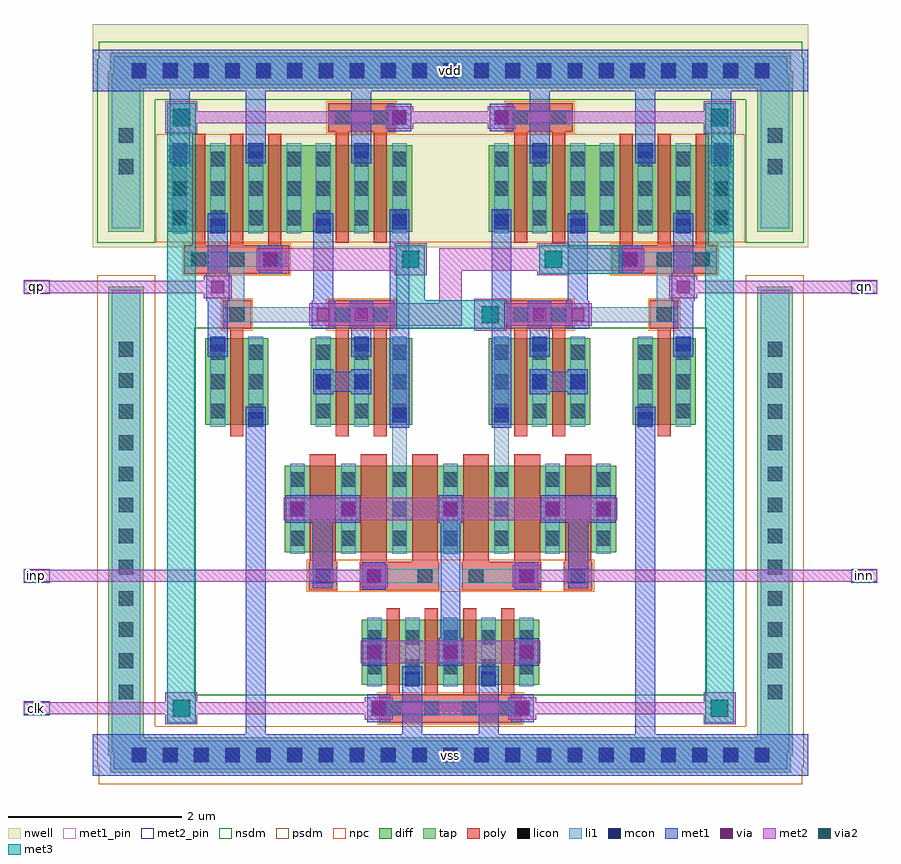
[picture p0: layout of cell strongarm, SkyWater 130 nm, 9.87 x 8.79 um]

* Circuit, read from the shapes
.subckt strongarm clk inn inp qn qp vdd vss
XM1 vss n1 qp vss sky130_fd_pr__nfet_01v8 w=1 l=0.15
XM2 n2 n2 n2 vss sky130_fd_pr__nfet_01v8 w=1 l=0.3 m=2
XM3 n3 n1 n3 vss sky130_fd_pr__nfet_01v8 w=1 l=0.15
XM4 n4 inp n2 vss sky130_fd_pr__nfet_01v8 w=1 l=0.3 m=2
XM5 n4 n1 n3 vss sky130_fd_pr__nfet_01v8 w=1 l=0.15
XM6 vss clk n2 vss sky130_fd_pr__nfet_01v8 w=0.75 l=0.15 m=4
XM7 n5 inn n2 vss sky130_fd_pr__nfet_01v8 w=1 l=0.3 m=2
XM8 n1 n3 n5 vss sky130_fd_pr__nfet_01v8 w=1 l=0.15
XM9 n1 n3 n1 vss sky130_fd_pr__nfet_01v8 w=1 l=0.15
XM10 qn n3 vss vss sky130_fd_pr__nfet_01v8 w=1 l=0.15
XM11 qp n1 vdd vdd sky130_fd_pr__pfet_01v8 w=1 l=0.15 m=2
XM12 n3 n1 vdd vdd sky130_fd_pr__pfet_01v8 w=1 l=0.15
XM13 vdd clk n3 vdd sky130_fd_pr__pfet_01v8 w=1 l=0.15
XM14 n4 clk vdd vdd sky130_fd_pr__pfet_01v8 w=1 l=0.15
XM15 vdd clk n5 vdd sky130_fd_pr__pfet_01v8 w=1 l=0.15
XM16 n1 clk vdd vdd sky130_fd_pr__pfet_01v8 w=1 l=0.15
XM17 vdd n3 n1 vdd sky130_fd_pr__pfet_01v8 w=1 l=0.15
XM18 qn n3 vdd vdd sky130_fd_pr__pfet_01v8 w=1 l=0.15 m=2
.ends

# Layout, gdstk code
import gdstk
lib = gdstk.Library(unit=1e-6, precision=1e-09)
def R(c, l, rs):  # rectangles x0, y0, x1, y1
    for r in rs: c.add(gdstk.rectangle(r[:2], r[2:], *l))
def A(c, l, x, y, w, h, nx, ny, dx, dy):  # array of equal rectangles
    R(c, l, [(x+i*dx, y+j*dy, x+i*dx+w, y+j*dy+h) for i in range(nx) for j in range(ny)])
nwell = (64, 20)
diff = (65, 20)
tap = (65, 44)
poly = (66, 20)
licon = (66, 44)
li1 = (67, 20)
mcon = (67, 44)
met1_pin = (68, 16)
met1 = (68, 20)
via = (68, 44)
met2_pin = (69, 16)
met2 = (69, 20)
via2 = (69, 44)
met3 = (70, 20)
nsdm = (93, 44)
psdm = (94, 20)
npc = (95, 20)

strongarm = lib.new_cell('strongarm')
R(strongarm, nwell, [(-4.135,6.11,4.135,8.69)])
A(strongarm, diff, -1.025, 1.055, 0.73, 0.75, 4, 1, 0.44, 0)
A(strongarm, diff, -1.915, 2.585, 0.88, 1, 6, 1, 0.59, 0)
A(strongarm, diff, -3.275, 6.29, 0.73, 1, 3, 1, 0.44, 0)
A(strongarm, diff, 1.665, 6.29, 0.73, 1, 3, 1, 0.44, 0)
R(strongarm, diff, [(-2.835,4.055,-2.105,5.055), (-1.615,4.055,-0.885,5.055), (-1.175,4.055,-0.445,5.055), (0.445,4.055,1.175,5.055), (0.885,4.055,1.615,5.055), (2.105,4.055,2.835,5.055), (-1.675,6.29,-1.605,7.29), (-1.615,6.29,-0.885,7.29), (-1.175,6.29,-0.445,7.29), (0.445,6.29,1.175,7.29), (0.885,6.29,1.615,7.29), (1.605,6.29,1.675,7.29)])
R(strongarm, tap, [(-3.935,0.035,3.935,0.445), (-3.955,0.24,-3.545,5.655), (3.545,0.24,3.955,5.655), (-3.955,6.29,-3.545,8.15), (3.545,6.29,3.955,8.15), (-3.935,7.945,3.935,8.355)])
A(strongarm, poly, -0.825, 0.615, 0.33, 0.33, 4, 1, 0.44, 0)
A(strongarm, poly, -0.505, 0.615, 0.13, 0.33, 3, 1, 0.44, 0)
A(strongarm, poly, -0.735, 0.945, 0.15, 0.99, 4, 1, 0.44, 0)
A(strongarm, poly, -1.64, 2.145, 0.33, 0.33, 6, 1, 0.59, 0)
A(strongarm, poly, -1.625, 2.475, 0.3, 1.24, 6, 1, 0.59, 0)
A(strongarm, poly, -3.075, 5.805, 0.33, 0.33, 3, 1, 0.44, 0)
A(strongarm, poly, 1.865, 5.805, 0.33, 0.33, 3, 1, 0.44, 0)
A(strongarm, poly, -2.985, 6.135, 0.15, 1.285, 3, 1, 0.44, 0)
A(strongarm, poly, 1.955, 6.135, 0.15, 1.285, 3, 1, 0.44, 0)
R(strongarm, poly, [(-0.73,2.145,-0.45,2.475), (0.45,2.145,0.73,2.475), (-2.545,3.925,-2.395,5.165), (-1.325,3.925,-1.175,5.165), (-0.885,3.925,-0.735,5.165), (0.735,3.925,0.885,5.165), (1.175,3.925,1.325,5.165), (2.395,3.925,2.545,5.165), (-2.635,5.165,-2.305,5.495), (-1.415,5.165,-1.085,5.495), (-1.095,5.165,-0.965,5.495), (-0.975,5.165,-0.645,5.495), (0.645,5.165,0.975,5.495), (0.965,5.165,1.095,5.495), (1.085,5.165,1.415,5.495), (2.305,5.165,2.635,5.495), (-2.755,5.805,-2.625,6.135), (-2.315,5.805,-2.185,6.135), (2.185,5.805,2.315,6.135), (2.625,5.805,2.755,6.135), (-1.325,6.16,-1.175,7.445), (-0.885,6.16,-0.735,7.445), (0.735,6.16,0.885,7.445), (1.175,6.16,1.325,7.445), (-1.415,7.445,-1.085,7.775), (-1.095,7.445,-0.965,7.775), (-0.975,7.445,-0.645,7.775), (0.645,7.445,0.975,7.775), (0.965,7.445,1.095,7.775), (1.085,7.445,1.415,7.775)])
A(strongarm, licon, -3.685, 0.155, 0.17, 0.17, 21, 2, 0.36, 7.91)
A(strongarm, licon, -0.745, 0.695, 0.17, 0.17, 4, 1, 0.44, 0)
A(strongarm, licon, -3.835, 0.885, 0.17, 0.17, 1, 12, 0, 0.36)
A(strongarm, licon, 3.665, 0.885, 0.17, 0.17, 1, 12, 0, 0.36)
A(strongarm, licon, -1.56, 2.225, 0.17, 0.17, 6, 1, 0.59, 0)
A(strongarm, licon, -1.855, 2.66, 0.17, 0.17, 1, 3, 0, 0.34)
A(strongarm, licon, 1.685, 2.66, 0.17, 0.17, 1, 3, 0, 0.34)
A(strongarm, licon, -2.775, 4.13, 0.17, 0.17, 1, 3, 0, 0.34)
A(strongarm, licon, -2.335, 4.13, 0.17, 0.17, 1, 3, 0, 0.34)
A(strongarm, licon, -1.555, 4.13, 0.17, 0.17, 1, 3, 0, 0.34)
A(strongarm, licon, -0.675, 4.13, 0.17, 0.17, 1, 3, 0, 0.34)
A(strongarm, licon, 0.505, 4.13, 0.17, 0.17, 1, 3, 0, 0.34)
A(strongarm, licon, 1.385, 4.13, 0.17, 0.17, 1, 3, 0, 0.34)
A(strongarm, licon, 2.165, 4.13, 0.17, 0.17, 1, 3, 0, 0.34)
A(strongarm, licon, 2.605, 4.13, 0.17, 0.17, 1, 3, 0, 0.34)
A(strongarm, licon, -2.995, 5.885, 0.17, 0.17, 3, 1, 0.44, 0)
A(strongarm, licon, 1.945, 5.885, 0.17, 0.17, 3, 1, 0.44, 0)
A(strongarm, licon, -3.215, 6.365, 0.17, 0.17, 1, 3, 0, 0.34)
A(strongarm, licon, -1.895, 6.365, 0.17, 0.17, 1, 3, 0, 0.34)
A(strongarm, licon, -1.555, 6.365, 0.17, 0.17, 1, 3, 0, 0.34)
A(strongarm, licon, -0.675, 6.365, 0.17, 0.17, 1, 3, 0, 0.34)
A(strongarm, licon, 0.505, 6.365, 0.17, 0.17, 1, 3, 0, 0.34)
A(strongarm, licon, 1.385, 6.365, 0.17, 0.17, 1, 3, 0, 0.34)
A(strongarm, licon, 1.725, 6.365, 0.17, 0.17, 1, 3, 0, 0.34)
A(strongarm, licon, 3.045, 6.365, 0.17, 0.17, 1, 3, 0, 0.34)
R(strongarm, licon, [(-0.965,1.175,-0.795,1.345), (-0.525,1.175,-0.355,1.345), (-0.525,1.175,-0.355,1.345), (-0.085,1.175,0.085,1.345), (-0.085,1.175,0.085,1.345), (0.355,1.175,0.525,1.345), (0.355,1.175,0.525,1.345), (0.795,1.175,0.965,1.345), (-0.965,1.515,-0.795,1.685), (-0.525,1.515,-0.355,1.685), (-0.525,1.515,-0.355,1.685), (-0.085,1.515,0.085,1.685), (-0.085,1.515,0.085,1.685), (0.355,1.515,0.525,1.685), (0.355,1.515,0.525,1.685), (0.795,1.515,0.965,1.685), (-1.265,2.66,-1.095,2.83), (-1.265,2.66,-1.095,2.83), (-0.675,2.66,-0.505,2.83), (-0.675,2.66,-0.505,2.83), (-0.085,2.66,0.085,2.83), (-0.085,2.66,0.085,2.83), (0.505,2.66,0.675,2.83), (0.505,2.66,0.675,2.83), (1.095,2.66,1.265,2.83), (1.095,2.66,1.265,2.83), (-1.265,3,-1.095,3.17), (-1.265,3,-1.095,3.17), (-0.675,3,-0.505,3.17), (-0.675,3,-0.505,3.17), (-0.085,3,0.085,3.17), (-0.085,3,0.085,3.17), (0.505,3,0.675,3.17), (0.505,3,0.675,3.17), (1.095,3,1.265,3.17), (1.095,3,1.265,3.17), (-1.265,3.34,-1.095,3.51), (-1.265,3.34,-1.095,3.51), (-0.675,3.34,-0.505,3.51), (-0.675,3.34,-0.505,3.51), (-0.085,3.34,0.085,3.51), (-0.085,3.34,0.085,3.51), (0.505,3.34,0.675,3.51), (0.505,3.34,0.675,3.51), (1.095,3.34,1.265,3.51), (1.095,3.34,1.265,3.51), (-1.115,4.13,-0.945,4.3), (-1.115,4.13,-0.945,4.3), (0.945,4.13,1.115,4.3), (0.945,4.13,1.115,4.3), (-1.115,4.47,-0.945,4.64), (-1.115,4.47,-0.945,4.64), (0.945,4.47,1.115,4.64), (0.945,4.47,1.115,4.64), (-1.115,4.81,-0.945,4.98), (-1.115,4.81,-0.945,4.98), (0.945,4.81,1.115,4.98), (0.945,4.81,1.115,4.98), (-2.555,5.245,-2.385,5.415), (-1.335,5.245,-1.165,5.415), (-0.895,5.245,-0.725,5.415), (0.725,5.245,0.895,5.415), (1.165,5.245,1.335,5.415), (2.385,5.245,2.555,5.415), (-2.775,6.365,-2.605,6.535), (-2.775,6.365,-2.605,6.535), (-2.335,6.365,-2.165,6.535), (-2.335,6.365,-2.165,6.535), (-1.115,6.365,-0.945,6.535), (-1.115,6.365,-0.945,6.535), (0.945,6.365,1.115,6.535), (0.945,6.365,1.115,6.535), (2.165,6.365,2.335,6.535), (2.165,6.365,2.335,6.535), (2.605,6.365,2.775,6.535), (2.605,6.365,2.775,6.535), (-2.775,6.705,-2.605,6.875), (-2.775,6.705,-2.605,6.875), (-2.335,6.705,-2.165,6.875), (-2.335,6.705,-2.165,6.875), (-1.115,6.705,-0.945,6.875), (-1.115,6.705,-0.945,6.875), (0.945,6.705,1.115,6.875), (0.945,6.705,1.115,6.875), (2.165,6.705,2.335,6.875), (2.165,6.705,2.335,6.875), (2.605,6.705,2.775,6.875), (2.605,6.705,2.775,6.875), (-3.835,6.955,-3.665,7.125), (3.665,6.955,3.835,7.125), (-2.775,7.045,-2.605,7.215), (-2.775,7.045,-2.605,7.215), (-2.335,7.045,-2.165,7.215), (-2.335,7.045,-2.165,7.215), (-1.115,7.045,-0.945,7.215), (-1.115,7.045,-0.945,7.215), (0.945,7.045,1.115,7.215), (0.945,7.045,1.115,7.215), (2.165,7.045,2.335,7.215), (2.165,7.045,2.335,7.215), (2.605,7.045,2.775,7.215), (2.605,7.045,2.775,7.215), (-3.835,7.315,-3.665,7.485), (3.665,7.315,3.835,7.485), (-1.335,7.525,-1.165,7.695), (-0.895,7.525,-0.725,7.695), (0.725,7.525,0.895,7.695), (1.165,7.525,1.335,7.695)])
A(strongarm, li1, -0.825, 0.695, 0.33, 0.17, 4, 1, 0.44, 0)
A(strongarm, li1, -0.505, 0.695, 0.13, 0.17, 3, 1, 0.44, 0)
A(strongarm, li1, -1.64, 2.225, 0.33, 0.17, 6, 1, 0.59, 0)
A(strongarm, li1, -3.075, 5.885, 0.33, 0.17, 3, 1, 0.44, 0)
A(strongarm, li1, 1.865, 5.885, 0.33, 0.17, 3, 1, 0.44, 0)
R(strongarm, li1, [(-3.895,0.075,3.895,0.405), (-3.915,0.28,-3.585,5.615), (3.585,0.28,3.915,5.615), (-0.915,0.695,0.915,0.865), (-0.965,1.035,-0.795,1.825), (-0.525,1.035,-0.355,1.825), (-0.525,1.035,-0.355,1.825), (-0.085,1.035,0.085,1.825), (-0.085,1.035,0.085,1.825), (0.355,1.035,0.525,1.825), (0.355,1.035,0.525,1.825), (0.795,1.035,0.965,1.825), (-0.73,2.225,-0.45,2.395), (0.45,2.225,0.73,2.395), (-1.855,2.565,-1.685,3.605), (-1.265,2.565,-1.095,3.605), (-1.265,2.565,-1.095,3.605), (-0.675,2.565,-0.505,3.605), (-0.675,2.565,-0.505,3.605), (-0.085,2.565,0.085,3.605), (-0.085,2.565,0.085,3.605), (0.505,2.565,0.675,3.605), (0.505,2.565,0.675,3.605), (1.095,2.565,1.265,3.605), (1.095,2.565,1.265,3.605), (1.685,2.565,1.855,3.605), (-0.675,3.595,-0.505,4.045), (0.505,3.595,0.675,4.045), (-2.775,4.035,-2.605,5.075), (-2.335,4.035,-2.165,5.075), (-1.555,4.035,-1.385,5.075), (-1.115,4.035,-0.945,5.075), (-1.115,4.035,-0.945,5.075), (-0.675,4.035,-0.505,5.075), (0.505,4.035,0.675,5.075), (0.945,4.035,1.115,5.075), (0.945,4.035,1.115,5.075), (1.385,4.035,1.555,5.075), (2.165,4.035,2.335,5.075), (2.605,4.035,2.775,5.075), (-2.635,5.245,-2.305,5.415), (-2.555,5.245,-0.725,5.415), (-1.415,5.245,-1.085,5.415), (-1.095,5.245,-0.965,5.415), (-0.975,5.245,-0.645,5.415), (0.645,5.245,0.975,5.415), (0.725,5.245,2.555,5.415), (0.965,5.245,1.095,5.415), (1.085,5.245,1.415,5.415), (2.305,5.245,2.635,5.415), (-2.555,5.33,-2.385,5.97), (2.385,5.33,2.555,5.97), (-2.995,5.885,-1.945,6.055), (-2.755,5.885,-2.625,6.055), (-2.315,5.885,-2.185,6.055), (1.945,5.885,2.995,6.055), (2.185,5.885,2.315,6.055), (2.625,5.885,2.755,6.055), (-3.215,6.27,-3.045,7.31), (-2.775,6.27,-2.605,7.31), (-2.775,6.27,-2.605,7.31), (-2.335,6.27,-2.165,7.31), (-2.335,6.27,-2.165,7.31), (-1.895,6.27,-1.725,7.31), (-1.555,6.27,-1.385,7.31), (-1.115,6.27,-0.945,7.31), (-1.115,6.27,-0.945,7.31), (-0.675,6.27,-0.505,7.31), (0.505,6.27,0.675,7.31), (0.945,6.27,1.115,7.31), (0.945,6.27,1.115,7.31), (1.385,6.27,1.555,7.31), (1.725,6.27,1.895,7.31), (2.165,6.27,2.335,7.31), (2.165,6.27,2.335,7.31), (2.605,6.27,2.775,7.31), (2.605,6.27,2.775,7.31), (3.045,6.27,3.215,7.31), (-3.915,6.33,-3.585,8.11), (3.585,6.33,3.915,8.11), (-1.415,7.525,-1.085,7.695), (-1.335,7.525,-0.505,7.695), (-1.095,7.525,-0.965,7.695), (-0.975,7.525,-0.645,7.695), (0.505,7.525,1.335,7.695), (0.645,7.525,0.975,7.695), (0.965,7.525,1.095,7.695), (1.085,7.525,1.415,7.695), (-3.895,7.985,3.895,8.315)])
A(strongarm, mcon, -3.685, 0.155, 0.17, 0.17, 21, 2, 0.36, 7.91)
A(strongarm, mcon, -0.965, 1.345, 0.17, 0.17, 3, 1, 0.88, 0)
A(strongarm, mcon, -1.265, 3, 0.17, 0.17, 3, 1, 1.18, 0)
R(strongarm, mcon, [(-0.915,0.695,-0.745,0.865), (0.745,0.695,0.915,0.865), (-0.525,1.035,-0.355,1.205), (0.355,1.035,0.525,1.205), (-1.56,2.225,-1.39,2.395), (-0.97,2.225,-0.8,2.395), (0.795,2.225,0.965,2.395), (1.39,2.225,1.56,2.395), (-1.855,3,-1.685,3.17), (1.685,3,1.855,3.17), (-2.335,4.035,-2.165,4.205), (2.165,4.035,2.335,4.205), (-0.675,4.085,-0.505,4.255), (0.505,4.085,0.675,4.255), (-1.555,4.47,-1.385,4.64), (-1.115,4.47,-0.945,4.64), (0.945,4.47,1.115,4.64), (1.385,4.47,1.555,4.64), (-2.775,4.905,-2.605,5.075), (-1.115,4.905,-0.945,5.075), (0.945,4.905,1.115,5.075), (2.605,4.905,2.775,5.075), (-2.165,5.885,-1.995,6.055), (1.995,5.885,2.165,6.055), (-2.775,6.27,-2.605,6.44), (-1.555,6.27,-1.385,6.44), (1.385,6.27,1.555,6.44), (2.605,6.27,2.775,6.44), (-0.675,6.32,-0.505,6.49), (0.505,6.32,0.675,6.49), (-3.215,7.14,-3.045,7.31), (-2.335,7.14,-2.165,7.31), (-1.115,7.14,-0.945,7.31), (0.945,7.14,1.115,7.31), (2.165,7.14,2.335,7.31), (3.045,7.14,3.215,7.31), (-0.675,7.525,-0.505,7.695), (0.505,7.525,0.675,7.695)])
R(strongarm, met1_pin, [(-0.15,0.16,0.15,0.32), (-0.15,8.07,0.15,8.23)])
A(strongarm, met1, -1.015, 1.27, 0.27, 0.32, 3, 1, 0.88, 0)
A(strongarm, met1, -1.315, 2.925, 0.27, 0.32, 3, 1, 1.18, 0)
R(strongarm, met1, [(-4.135,0,4.135,0.48), (-2.365,0.24,-2.135,4.205), (-0.555,0.24,-0.325,1.205), (0.325,0.24,0.555,1.205), (2.135,0.24,2.365,4.205), (-0.965,0.62,-0.695,0.94), (0.695,0.62,0.965,0.94), (-0.555,0.975,-0.325,1.265), (0.325,0.975,0.555,1.265), (-0.115,1.43,0.115,3.085), (-1.02,2.15,-0.75,2.47), (-1.02,2.15,-0.75,2.47), (0.745,2.15,1.015,2.47), (0.745,2.15,1.015,2.47), (-1.59,2.165,-1.36,2.455), (1.36,2.165,1.59,2.455), (-1.59,2.31,-1.36,3.085), (1.36,2.31,1.59,3.085), (-1.905,2.925,-1.635,3.245), (-1.77,2.925,-1.18,3.245), (1.18,2.925,1.77,3.245), (1.635,2.925,1.905,3.245), (-2.365,3.975,-2.135,4.265), (2.135,3.975,2.365,4.265), (-0.705,4.025,-0.475,4.315), (0.475,4.025,0.705,4.315), (-0.705,4.085,-0.475,6.49), (0.475,4.085,0.705,6.49), (-1.585,4.41,-1.355,4.7), (-1.145,4.41,-0.915,4.7), (0.915,4.41,1.145,4.7), (1.355,4.41,1.585,4.7), (-1.47,4.44,-1.03,4.67), (1.03,4.44,1.47,4.67), (-2.805,4.845,-2.575,5.135), (-1.145,4.845,-0.915,5.135), (0.915,4.845,1.145,5.135), (2.575,4.845,2.805,5.135), (-2.805,4.905,-2.575,6.44), (-1.145,4.905,-0.915,5.33), (0.915,4.905,1.145,5.33), (2.575,4.905,2.805,6.44), (-1.605,5.17,-1.335,5.49), (-1.585,5.17,-1.355,5.49), (-1.165,5.17,-0.895,5.49), (-1.145,5.17,-0.915,5.49), (0.895,5.17,1.165,5.49), (0.915,5.17,1.145,5.49), (1.335,5.17,1.605,5.49), (1.355,5.17,1.585,5.49), (-1.585,5.33,-1.355,6.44), (1.355,5.33,1.585,6.44), (-2.825,5.49,-2.555,5.81), (2.555,5.49,2.825,5.81), (-2.215,5.81,-1.945,6.13), (1.945,5.81,2.215,6.13), (-2.805,6.21,-2.575,6.5), (-1.585,6.21,-1.355,6.5), (1.355,6.21,1.585,6.5), (2.575,6.21,2.805,6.5), (-0.705,6.26,-0.475,6.55), (0.475,6.26,0.705,6.55), (-3.245,7.08,-3.015,7.37), (-2.365,7.08,-2.135,7.37), (-1.145,7.08,-0.915,7.37), (0.915,7.08,1.145,7.37), (2.135,7.08,2.365,7.37), (3.015,7.08,3.245,7.37), (-3.245,7.14,-3.015,8.15), (-2.365,7.14,-2.135,8.15), (-1.145,7.14,-0.915,8.15), (0.915,7.14,1.145,8.15), (2.135,7.14,2.365,8.15), (3.015,7.14,3.245,8.15), (-0.725,7.45,-0.455,7.77), (0.455,7.45,0.725,7.77), (-4.135,7.91,4.135,8.39)])
A(strongarm, via, -0.955, 1.355, 0.15, 0.15, 3, 1, 0.88, 0)
A(strongarm, via, -1.255, 3.01, 0.15, 0.15, 3, 1, 1.18, 0)
R(strongarm, via, [(-0.905,0.705,-0.755,0.855), (0.755,0.705,0.905,0.855), (-0.96,2.235,-0.81,2.385), (0.805,2.235,0.955,2.385), (-1.845,3.01,-1.695,3.16), (1.695,3.01,1.845,3.16), (-1.545,5.255,-1.395,5.405), (-1.105,5.255,-0.955,5.405), (0.955,5.255,1.105,5.405), (1.395,5.255,1.545,5.405), (-2.765,5.575,-2.615,5.725), (2.615,5.575,2.765,5.725), (-2.155,5.895,-2.005,6.045), (2.005,5.895,2.155,6.045), (-0.665,7.535,-0.515,7.685), (0.515,7.535,0.665,7.685)])
R(strongarm, met2_pin, [(-4.935,0.7,-4.635,0.86), (-4.935,2.23,-4.635,2.39), (4.635,2.23,4.935,2.39), (-4.935,5.57,-4.635,5.73), (4.635,5.57,4.935,5.73)])
A(strongarm, met2, -1.04, 1.3, 0.32, 0.26, 3, 1, 0.88, 0)
A(strongarm, met2, -1.34, 2.955, 0.32, 0.26, 3, 1, 1.18, 0)
R(strongarm, met2, [(-3.295,0.595,-2.925,0.965), (2.925,0.595,3.295,0.965), (-0.99,0.65,-0.67,0.91), (0.67,0.65,0.99,0.91), (-4.935,0.71,3.11,0.85), (-0.88,1.3,0.88,1.56), (-1.045,2.18,-0.725,2.44), (0.72,2.18,1.04,2.44), (-4.935,2.24,-0.885,2.38), (0.88,2.24,4.935,2.38), (-1.93,2.955,-1.61,3.215), (-1.77,2.955,1.77,3.215), (1.61,2.955,1.93,3.215), (0.275,5.145,0.645,5.515), (-1.63,5.2,-1.31,5.46), (-1.47,5.2,0,5.46), (-1.19,5.2,-0.87,5.46), (-0.13,5.2,0.13,6.1), (0.46,5.2,1.47,5.46), (0.87,5.2,1.19,5.46), (1.31,5.2,1.63,5.46), (-2.85,5.52,-2.53,5.78), (2.53,5.52,2.85,5.78), (-4.935,5.58,-2.69,5.72), (2.69,5.58,4.935,5.72), (-0.645,5.785,-0.275,6.155), (1.005,5.785,1.375,6.155), (-2.24,5.84,-1.92,6.1), (-2.08,5.84,-0.46,6.1), (0,5.84,2.08,6.1), (1.92,5.84,2.24,6.1), (-3.295,7.425,-2.925,7.795), (2.925,7.425,3.295,7.795), (-0.75,7.48,-0.43,7.74), (0.43,7.48,0.75,7.74), (-3.11,7.54,3.11,7.68)])
R(strongarm, via2, [(-3.21,0.68,-3.01,0.88), (3.01,0.68,3.21,0.88), (0.36,5.23,0.56,5.43), (-0.56,5.87,-0.36,6.07), (1.09,5.87,1.29,6.07), (-3.21,7.51,-3.01,7.71), (3.01,7.51,3.21,7.71)])
R(strongarm, met3, [(-3.275,0.615,-2.945,0.945), (2.945,0.615,3.275,0.945), (-3.275,0.78,-2.945,7.61), (2.945,0.78,3.275,7.61), (-0.625,5.165,-0.295,6.135), (-0.625,5.165,0.625,5.495), (0.295,5.165,0.625,5.495), (-0.625,5.805,-0.295,6.135), (1.025,5.805,1.355,6.135), (1.025,5.805,1.99,6.135), (-3.275,7.445,-2.945,7.775), (2.945,7.445,3.275,7.775)])
A(strongarm, nsdm, -1.15, 0.93, 0.98, 1, 4, 1, 0.44, 0)
A(strongarm, nsdm, -2.04, 2.46, 1.13, 1.25, 6, 1, 0.59, 0)
R(strongarm, nsdm, [(-2.96,0.93,2.96,5.18), (-2.96,3.93,-1.98,5.18), (-1.99,3.93,-1.73,5.18), (-1.74,3.93,-0.76,5.18), (-1.3,3.93,-0.32,5.18), (0.32,3.93,1.3,5.18), (0.76,3.93,1.74,5.18), (1.73,3.93,1.99,5.18), (1.98,3.93,2.96,5.18), (-4.085,6.16,-3.415,8.28), (3.415,6.16,4.085,8.28), (-4.065,7.815,4.065,8.485)])
A(strongarm, psdm, -3.4, 6.165, 0.98, 1.25, 3, 1, 0.44, 0)
A(strongarm, psdm, 1.54, 6.165, 0.98, 1.25, 3, 1, 0.44, 0)
R(strongarm, psdm, [(-4.065,-0.095,4.065,0.575), (-4.085,0.11,-3.415,5.785), (3.415,0.11,4.085,5.785), (-3.4,6.165,3.4,7.415), (-1.74,6.165,-0.76,7.415), (-1.3,6.165,-0.32,7.415), (0.32,6.165,1.3,7.415), (0.76,6.165,1.74,7.415)])
A(strongarm, npc, -0.845, 0.595, 0.37, 0.37, 4, 1, 0.44, 0)
A(strongarm, npc, -0.485, 0.595, 0.09, 0.37, 3, 1, 0.44, 0)
A(strongarm, npc, -1.66, 2.125, 0.37, 0.37, 6, 1, 0.59, 0)
A(strongarm, npc, -1.3, 2.125, 0.24, 0.37, 5, 1, 0.59, 0)
A(strongarm, npc, -3.095, 5.785, 0.37, 0.37, 3, 1, 0.44, 0)
A(strongarm, npc, 1.845, 5.785, 0.37, 0.37, 3, 1, 0.44, 0)
R(strongarm, npc, [(-2.655,5.145,-2.285,5.515), (-1.435,5.145,-1.065,5.515), (-1.075,5.145,-0.985,5.515), (-0.995,5.145,-0.625,5.515), (0.625,5.145,0.995,5.515), (0.985,5.145,1.075,5.515), (1.065,5.145,1.435,5.515), (2.285,5.145,2.655,5.515), (-2.735,5.785,-2.645,6.155), (-2.295,5.785,-2.205,6.155), (2.205,5.785,2.295,6.155), (2.645,5.785,2.735,6.155), (-1.435,7.425,-1.065,7.795), (-1.075,7.425,-0.985,7.795), (-0.995,7.425,-0.625,7.795), (0.625,7.425,0.995,7.795), (0.985,7.425,1.075,7.795), (1.065,7.425,1.435,7.795)])
strongarm.add(gdstk.Label('inp', (-4.785,2.31), layer=69, texttype=5))
strongarm.add(gdstk.Label('inn', (4.785,2.31), layer=69, texttype=5))
strongarm.add(gdstk.Label('qp', (-4.785,5.65), layer=69, texttype=5))
strongarm.add(gdstk.Label('qn', (4.785,5.65), layer=69, texttype=5))
strongarm.add(gdstk.Label('clk', (-4.785,0.78), layer=69, texttype=5))
strongarm.add(gdstk.Label('vss', (0,0.24), layer=68, texttype=5))
strongarm.add(gdstk.Label('vdd', (0,8.15), layer=68, texttype=5))

lib.write_gds('strongarm.gds')
